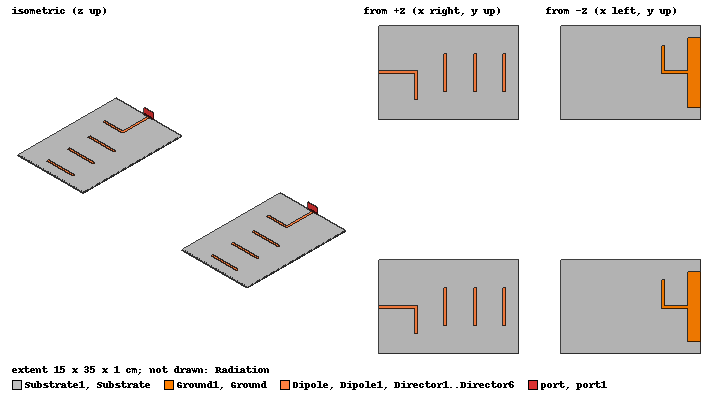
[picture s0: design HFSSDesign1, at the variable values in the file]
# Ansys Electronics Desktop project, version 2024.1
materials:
  vacuum: permittivity=1
  FR4_epoxy: permittivity=4.4 dielectric_loss_tangent=0.02
  air: permittivity=1.0006 permeability=1.0000004
  polyethylene: permittivity=2.25 dielectric_loss_tangent=0.001
  polystyrene: permittivity=2.6 conductivity=1e-16

design HFSSDesign1 (HFSS, HFSS Terminal Network, model units cm)
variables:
  a = 7.5cm
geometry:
  Ground = rectangle(corner=(0cm, -3.75cm+5cm+a, -0.1cm), x_size=1.4cm, y_size=7.5cm)
  Substrate [polystyrene] = box(corner=(0cm, a, -0.1cm), size=(15cm, 10cm, 0.1cm))
  Rectangle1 = rectangle(corner=(1.4cm, -0.15cm +5cm+a, -0.1cm), x_size=2.75cm, y_size=0.3cm)
  Rectangle2 = rectangle(corner=(4.15cm, 0.15cm+5cm+a, -0.1cm), x_size=-0.3cm, y_size=2.75cm)
  Rectangle3 = rectangle(corner=(0cm, -0.15cm+5cm+a, 0cm), x_size=4.15cm, y_size=0.3cm)
  Dipole = rectangle(corner=(4.15cm, -2.27cm+4.37cm+a, 0cm), x_size=-0.3cm, y_size=2.75cm)
  Dipole.unite(Rectangle3)
  Ground.unite(Rectangle1, Rectangle2)
  Director1 = rectangle(corner=(7cm, 7cm+a, 0cm), x_size=0.3cm, y_size=-4cm)
  Director2 = rectangle(corner=(10.15cm, 7cm+a, 0cm), x_size=0.3cm, y_size=-4cm)
  Director3 = rectangle(corner=(13.3cm, 7cm+a, 0cm), x_size=0.3cm, y_size=-4cm)
  port = rectangle(corner=(0cm, 4.25cm+a, -0.1cm), y_size=1.5cm, z_size=1cm)
  Radiation [air] = box(corner=(-15cm, -30cm, -15cm), size=(40cm, 60cm, 30cm))
  Ground1 = rectangle(corner=(0cm, -8.75cm-a, -0.1cm), x_size=1.4cm, y_size=7.5cm)
  Rectangle4 = rectangle(corner=(1.4cm, -5.15cm-a, -0.1cm), x_size=2.75cm, y_size=0.3cm)
  Rectangle5 = rectangle(corner=(4.15cm, -4.85cm-a, -0.1cm), x_size=-0.3cm, y_size=2.75cm)
  Ground1.unite(Rectangle4, Rectangle5)
  Substrate1 [polystyrene] = box(corner=(0cm, -10cm-a, -0.1cm), size=(15cm, 10cm, 0.1cm))
  Dipole1 = rectangle(corner=(4.15cm, -12.27cm +4.37cm-a, 0cm), x_size=-0.3cm, y_size=2.75cm)
  Rectangle6 = rectangle(corner=(0cm, -5.15cm-a, 0cm), x_size=4.15cm, y_size=0.3cm)
  Dipole1.unite(Rectangle6)
  Director4 = rectangle(corner=(7cm, -3cm-a, 0cm), x_size=0.3cm, y_size=-4cm)
  Director5 = rectangle(corner=(10.15cm, -3cm-a, 0cm), x_size=0.3cm, y_size=-4cm)
  Director6 = rectangle(corner=(13.3cm, -3cm-a, 0cm), x_size=0.3cm, y_size=-4cm)
  port1 = rectangle(corner=(0cm, -5.75cm-a, -0.1cm), y_size=1.5cm, z_size=1cm)
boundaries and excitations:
  PerfE1: Perfect E Objects=[Dipole, Director1, Director2, Director3, Ground]
  Rad1: Radiation Objects=Radiation
  PerfE2: Perfect E Objects=[Dipole1, Director4, Director5, Director6, Ground1]
  1: Lumped Port Objects=port1 LumpedPortType=Modal Modes{Mode1{IntLine{(0, -12.5, -0.1) -> (0, -12.5, 0)} CharImp=Zpi}} Impedance=50ohm
  2: Lumped Port Objects=port LumpedPortType=Modal Modes{Mode1{IntLine{(0, 12.5, -0.1) -> (0, 12.5, 0)} CharImp=Zpi}} Impedance=50ohm
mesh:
  initial mesh: GlobalSurfApproximation{CurvedSurfaceApproxChoice=UseSlider SliderMeshSettings=7}
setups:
  Setup1: HfssDriven Frequency=2.4GHz MaxDeltaS=0.008 MaximumPasses=50 MinimumPasses=10 MinimumConvergedPasses=5 PercentRefinement=30 BasisOrder=1 PortAccuracy=2 DrivenSolverType="Direct Solver"
    sweep Sweep: 1.8GHz to 3GHz, 2001 points; Type=Fast SaveFields
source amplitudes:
  1:1: 1V 0deg
  2:1: 0V 0deg
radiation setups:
  Infinite Sphere1: Infinite Sphere Theta=0deg..180deg step 2deg Phi=-180deg..180deg step 2deg
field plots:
  Vector_E1: E Field over Dipole.face(at (2.075, 11.125, 0)) Director1.face Director2.face Director3.face on Setup1 : LastAdaptive at Freq=2.4GHz Phase=0deg
  Vector_H1: H Field over Dipole.face(at (2.075, 11.125, 0)) Director1.face Director2.face Director3.face on Setup1 : LastAdaptive at Freq=2.4GHz Phase=0deg
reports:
  S11 and S12: dB(S(1,1)), dB(S(1,2)) vs Freq on Setup1 : Sweep; markers m1 at 2.142GHz, m2 at 2.1408GHz, m3 at 1.983GHz, m4 at 2.3208GHz
  Realized Gain Plot 1: dB(RealizedGainTotal) vs Phi, Theta on Setup1 : LastAdaptive, Infinite Sphere1 [Freq=2.4GHz]
  Realized Gain Plot 2: dB(RealizedGainTotal) vs Phi on Setup1 : LastAdaptive, Infinite Sphere1 [Theta=90deg Freq=2.4GHz]
  Polarization Ratio Plot 1: dB20normalize(AxialRatioValue) vs Phi on Setup1 : LastAdaptive, Infinite Sphere1 [Theta=90deg Freq=2.4GHz]; markers MX1 at x=-0.243443
